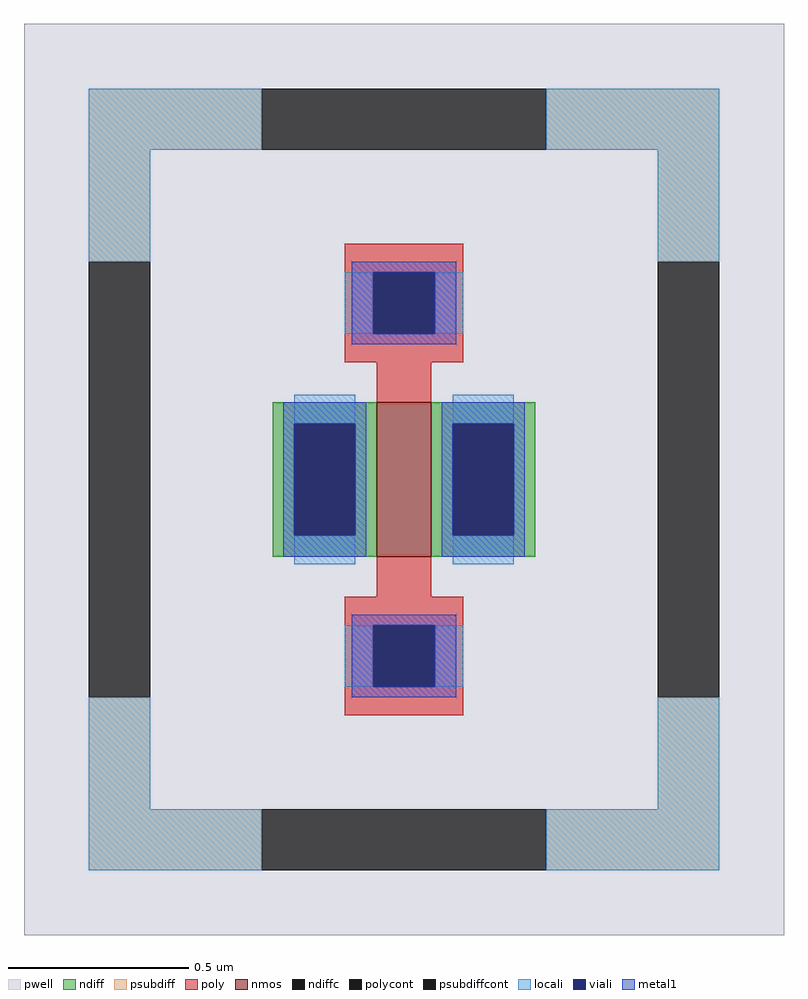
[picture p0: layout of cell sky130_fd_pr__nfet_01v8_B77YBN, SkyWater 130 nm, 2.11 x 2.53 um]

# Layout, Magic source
magic
tech sky130A
magscale 1 2
<< pwell >>
rect -211 -253 211 253
<< nmos >>
rect -15 -43 15 43
<< ndiff >>
rect -73 31 -15 43
rect -73 -31 -61 31
rect -27 -31 -15 31
rect -73 -43 -15 -31
rect 15 31 73 43
rect 15 -31 27 31
rect 61 -31 73 31
rect 15 -43 73 -31
<< ndiffc >>
rect -61 -31 -27 31
rect 27 -31 61 31
<< psubdiff >>
rect -175 183 -79 217
rect 79 183 175 217
rect -175 121 -141 183
rect 141 121 175 183
rect -175 -183 -141 -121
rect 141 -183 175 -121
rect -175 -217 -79 -183
rect 79 -217 175 -183
<< psubdiffcont >>
rect -79 183 79 217
rect -175 -121 -141 121
rect 141 -121 175 121
rect -79 -217 79 -183
<< poly >>
rect -33 115 33 131
rect -33 81 -17 115
rect 17 81 33 115
rect -33 65 33 81
rect -15 43 15 65
rect -15 -65 15 -43
rect -33 -81 33 -65
rect -33 -115 -17 -81
rect 17 -115 33 -81
rect -33 -131 33 -115
<< polycont >>
rect -17 81 17 115
rect -17 -115 17 -81
<< locali >>
rect -175 183 -79 217
rect 79 183 175 217
rect -175 121 -141 183
rect 141 121 175 183
rect -33 81 -17 115
rect 17 81 33 115
rect -61 31 -27 47
rect -61 -47 -27 -31
rect 27 31 61 47
rect 27 -47 61 -31
rect -33 -115 -17 -81
rect 17 -115 33 -81
rect -175 -183 -141 -121
rect 141 -183 175 -121
rect -175 -217 -79 -183
rect 79 -217 175 -183
<< viali >>
rect -17 81 17 115
rect -61 -31 -27 31
rect 27 -31 61 31
rect -17 -115 17 -81
<< metal1 >>
rect -29 115 29 121
rect -29 81 -17 115
rect 17 81 29 115
rect -29 75 29 81
rect -67 31 -21 43
rect -67 -31 -61 31
rect -27 -31 -21 31
rect -67 -43 -21 -31
rect 21 31 67 43
rect 21 -31 27 31
rect 61 -31 67 31
rect 21 -43 67 -31
rect -29 -81 29 -75
rect -29 -115 -17 -81
rect 17 -115 29 -81
rect -29 -121 29 -115
<< properties >>
string FIXED_BBOX -158 -200 158 200
string gencell sky130_fd_pr__nfet_01v8
string library sky130
string parameters w 0.425 l 0.15 m 1 nf 1 diffcov 100 polycov 100 guard 1 glc 1 grc 1 gtc 1 gbc 1 tbcov 100 rlcov 100 topc 1 botc 1 poverlap 0 doverlap 1 lmin 0.15 wmin 0.42 class mosfet compatible {sky130_fd_pr__nfet_01v8 sky130_fd_pr__nfet_01v8_lvt  sky130_fd_bs_flash__special_sonosfet_star  sky130_fd_pr__nfet_g5v0d10v5 sky130_fd_pr__nfet_05v0_nvt  sky130_fd_pr__nfet_03v3_nvt} full_metal 1 viasrc 100 viadrn 100 viagate 100 viagb 0 viagr 0 viagl 0 viagt 0
<< end >>
